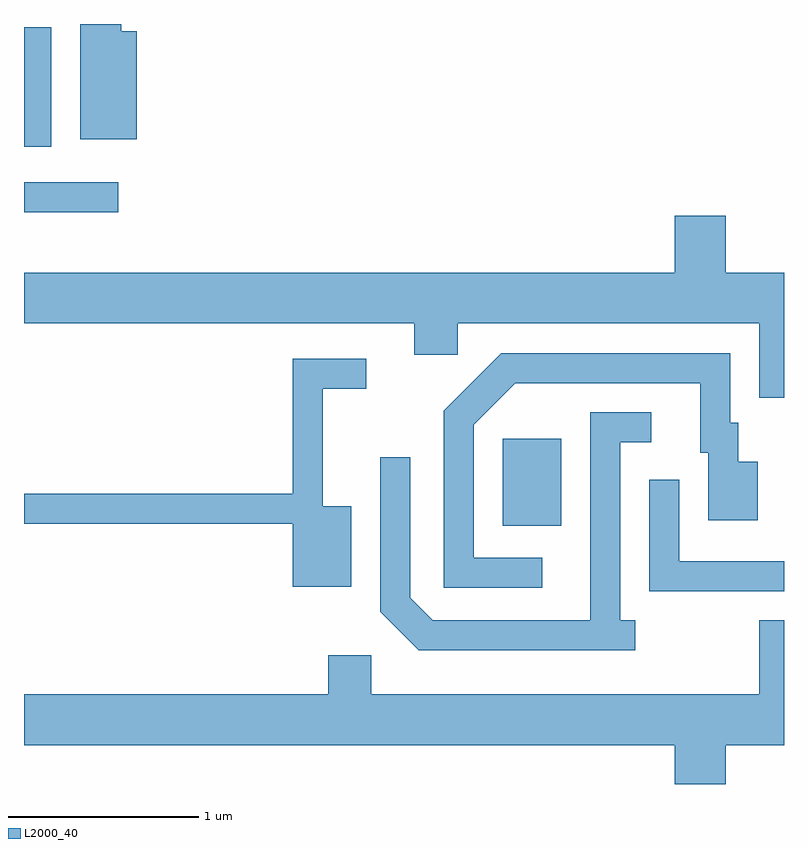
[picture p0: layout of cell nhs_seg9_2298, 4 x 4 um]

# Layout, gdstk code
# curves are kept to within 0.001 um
import gdstk
lib = gdstk.Library(unit=1e-6, precision=1e-09)
def R(c, l, rs):  # rectangles x0, y0, x1, y1
    for r in rs: c.add(gdstk.rectangle(r[:2], r[2:], *l))
def P(c, l, *ps):  # polygons
    for p in ps: c.add(gdstk.Polygon(p, *l))
L2000_40 = (2000, 40)

nhs_seg9_2298 = lib.new_cell('nhs_seg9_2298')
R(nhs_seg9_2298, L2000_40, [(254.131,2061.791,254.439,2062.249), (251.611,2063.441,252.108,2063.599), (251.611,2063.786,251.754,2064.414)])
P(nhs_seg9_2298, L2000_40, [(252.204,2064.394),(252.124,2064.394),(252.124,2064.432),(251.906,2064.432),(251.906,2063.826),(252.204,2063.826)],
  [(255.611,2063.124),(255.304,2063.124),(255.304,2063.424),(255.036,2063.424),(255.036,2063.124),(251.611,2063.124),(251.611,2062.856),(253.666,2062.856),(253.666,2062.691),(253.894,2062.691),(253.894,2062.856),(255.481,2062.856),(255.481,2062.466),(255.611,2062.466)],
  [(254.338,2061.624),(253.979,2061.624),(253.979,2062.324),(254.197,2062.541),(255.171,2062.541),(255.171,2062.176),(255.211,2062.176),(255.211,2061.821),(255.474,2061.821),(255.474,2062.129),(255.369,2062.129),(255.369,2062.334),(255.329,2062.334),(255.329,2062.699),(254.124,2062.699),(253.821,2062.396),(253.821,2061.466),(254.338,2061.466)],
  [(253.334,2061.894),(253.184,2061.894),(253.184,2062.511),(253.413,2062.511),(253.413,2062.669),(253.026,2062.669),(253.026,2061.959),(251.611,2061.959),(251.611,2061.801),(253.026,2061.801),(253.026,2061.471),(253.334,2061.471)],
  [(254.828,2061.294),(254.749,2061.294),(254.749,2062.231),(254.913,2062.231),(254.913,2062.389),(254.591,2062.389),(254.591,2061.294),(253.762,2061.294),(253.644,2061.412),(253.644,2062.153),(253.486,2062.153),(253.486,2061.338),(253.689,2061.136),(254.828,2061.136)],
  [(255.611,2061.604),(255.059,2061.604),(255.059,2062.033),(254.901,2062.033),(254.901,2061.446),(255.611,2061.446)],
  [(255.304,2060.636),(255.611,2060.636),(255.611,2061.294),(255.481,2061.294),(255.481,2060.904),(253.439,2060.904),(253.439,2061.109),(253.211,2061.109),(253.211,2060.904),(251.611,2060.904),(251.611,2060.636),(255.036,2060.636),(255.036,2060.432),(255.304,2060.432)])

lib.write_gds('nhs_seg9_2298.gds')
